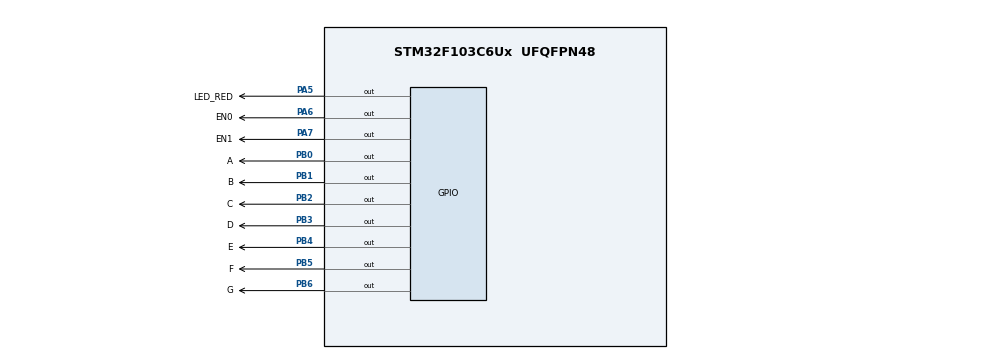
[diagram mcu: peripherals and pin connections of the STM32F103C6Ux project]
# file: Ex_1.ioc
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Mcu.Family=STM32F1
Mcu.Name=STM32F103C6Ux
Mcu.Package=UFQFPN48
NVIC.PriorityGroup=NVIC_PRIORITYGROUP_4
NVIC.TIM2_IRQn=true\:0\:0\:false\:false\:true\:true\:true
PA5.GPIO_Label=LED_RED
PA5.Signal=GPIO_Output
PA6.GPIO_Label=EN0
PA6.Signal=GPIO_Output
PA7.GPIO_Label=EN1
PA7.Signal=GPIO_Output
PB0.GPIO_Label=A
PB0.Signal=GPIO_Output
PB1.GPIO_Label=B
PB1.Signal=GPIO_Output
PB2.GPIO_Label=C
PB2.Signal=GPIO_Output
PB3.GPIO_Label=D
PB3.Signal=GPIO_Output
PB4.GPIO_Label=E
PB4.Signal=GPIO_Output
PB5.GPIO_Label=F
PB5.Signal=GPIO_Output
PB6.GPIO_Label=G
PB6.Signal=GPIO_Output
ProjectManager.HeapSize=0x200
ProjectManager.StackSize=0x400
ProjectManager.TargetToolchain=STM32CubeIDE
RCC.APB1Freq_Value=8000000
RCC.APB2Freq_Value=8000000
TIM2.Period=49
TIM2.Prescaler=7999
VP_SYS_VS_ND.Mode=No_Debug
VP_TIM2_VS_ClockSourceINT.Mode=Internal
board=custom

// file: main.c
/* USER CODE BEGIN Header */
/**
  ******************************************************************************
  * @file           : main.c
  * @brief          : Main program body
  ******************************************************************************
  * @attention
  *
  * <h2><center>&copy; Copyright (c) 2024 STMicroelectronics.
  * All rights reserved.</center></h2>
  *
  * This software component is licensed by ST under BSD 3-Clause license,
  * the "License"; You may not use this file except in compliance with the
  * License. You may obtain a copy of the License at:
  *                        opensource.org/licenses/BSD-3-Clause
  *
  ******************************************************************************
  */
/* USER CODE END Header */
#include "main.h"

TIM_HandleTypeDef htim2;

void SystemClock_Config(void);
static void MX_GPIO_Init(void);
static void MX_TIM2_Init(void);

int main(void)
{

  /* MCU Configuration--------------------------------------------------------*/

  /* Reset of all peripherals, Initializes the Flash interface and the Systick. */
  HAL_Init();

  /* Configure the system clock */
  SystemClock_Config();

  /* Initialize all configured peripherals */
  MX_GPIO_Init();
  MX_TIM2_Init();
  /* USER CODE BEGIN 2 */
  HAL_TIM_Base_Start_IT(&htim2);
  /* USER CODE END 2 */

  /* Infinite loop */
  while (1)
  {

  }
}

void SystemClock_Config(void)
{
  RCC_OscInitTypeDef RCC_OscInitStruct = {0};
  RCC_ClkInitTypeDef RCC_ClkInitStruct = {0};

  /** Initializes the RCC Oscillators according to the specified parameters
  * in the RCC_OscInitTypeDef structure.
  */
  RCC_OscInitStruct.OscillatorType = RCC_OSCILLATORTYPE_HSI;
  RCC_OscInitStruct.HSIState = RCC_HSI_ON;
  RCC_OscInitStruct.HSICalibrationValue = RCC_HSICALIBRATION_DEFAULT;
  RCC_OscInitStruct.PLL.PLLState = RCC_PLL_NONE;
  if (HAL_RCC_OscConfig(&RCC_OscInitStruct) != HAL_OK)
  {
    Error_Handler();
  }
  /** Initializes the CPU, AHB and APB buses clocks
  */
  RCC_ClkInitStruct.ClockType = RCC_CLOCKTYPE_HCLK|RCC_CLOCKTYPE_SYSCLK
                              |RCC_CLOCKTYPE_PCLK1|RCC_CLOCKTYPE_PCLK2;
  RCC_ClkInitStruct.SYSCLKSource = RCC_SYSCLKSOURCE_HSI;
  RCC_ClkInitStruct.AHBCLKDivider = RCC_SYSCLK_DIV1;
  RCC_ClkInitStruct.APB1CLKDivider = RCC_HCLK_DIV1;
  RCC_ClkInitStruct.APB2CLKDivider = RCC_HCLK_DIV1;

  if (HAL_RCC_ClockConfig(&RCC_ClkInitStruct, FLASH_LATENCY_0) != HAL_OK)
  {
    Error_Handler();
  }
}

static void MX_TIM2_Init(void)
{

  TIM_ClockConfigTypeDef sClockSourceConfig = {0};
  TIM_MasterConfigTypeDef sMasterConfig = {0};

  htim2.Instance = TIM2;
  htim2.Init.Prescaler = 7999;
  htim2.Init.CounterMode = TIM_COUNTERMODE_UP;
  htim2.Init.Period = 49;
  htim2.Init.ClockDivision = TIM_CLOCKDIVISION_DIV1;
  htim2.Init.AutoReloadPreload = TIM_AUTORELOAD_PRELOAD_DISABLE;
  if (HAL_TIM_Base_Init(&htim2) != HAL_OK)
  {
    Error_Handler();
  }
  sClockSourceConfig.ClockSource = TIM_CLOCKSOURCE_INTERNAL;
  if (HAL_TIM_ConfigClockSource(&htim2, &sClockSourceConfig) != HAL_OK)
  {
    Error_Handler();
  }
  sMasterConfig.MasterOutputTrigger = TIM_TRGO_RESET;
  sMasterConfig.MasterSlaveMode = TIM_MASTERSLAVEMODE_DISABLE;
  if (HAL_TIMEx_MasterConfigSynchronization(&htim2, &sMasterConfig) != HAL_OK)
  {
    Error_Handler();
  }

}

static void MX_GPIO_Init(void)
{
  GPIO_InitTypeDef GPIO_InitStruct = {0};

  /* GPIO Ports Clock Enable */
  __HAL_RCC_GPIOA_CLK_ENABLE();
  __HAL_RCC_GPIOB_CLK_ENABLE();

  /*Configure GPIO pin Output Level */
  HAL_GPIO_WritePin(GPIOA, LED_RED_Pin|EN0_Pin|EN1_Pin, GPIO_PIN_RESET);

  /*Configure GPIO pin Output Level */
  HAL_GPIO_WritePin(GPIOB, A_Pin|B_Pin|C_Pin|D_Pin
                          |E_Pin|F_Pin|G_Pin, GPIO_PIN_RESET);

  /*Configure GPIO pins : LED_RED_Pin EN0_Pin EN1_Pin */
  GPIO_InitStruct.Pin = LED_RED_Pin|EN0_Pin|EN1_Pin;
  GPIO_InitStruct.Mode = GPIO_MODE_OUTPUT_PP;
  GPIO_InitStruct.Pull = GPIO_NOPULL;
  GPIO_InitStruct.Speed = GPIO_SPEED_FREQ_LOW;
  HAL_GPIO_Init(GPIOA, &GPIO_InitStruct);

  /*Configure GPIO pins : A_Pin B_Pin C_Pin D_Pin
                           E_Pin F_Pin G_Pin */
  GPIO_InitStruct.Pin = A_Pin|B_Pin|C_Pin|D_Pin
                          |E_Pin|F_Pin|G_Pin;
  GPIO_InitStruct.Mode = GPIO_MODE_OUTPUT_PP;
  GPIO_InitStruct.Pull = GPIO_NOPULL;
  GPIO_InitStruct.Speed = GPIO_SPEED_FREQ_LOW;
  HAL_GPIO_Init(GPIOB, &GPIO_InitStruct);

}

/* USER CODE BEGIN 4 */
void display7SEG(int num) {
	HAL_GPIO_WritePin(A_GPIO_Port, A_Pin, SET);
	HAL_GPIO_WritePin(B_GPIO_Port, B_Pin, SET);
	HAL_GPIO_WritePin(C_GPIO_Port, C_Pin, SET);
	HAL_GPIO_WritePin(D_GPIO_Port, D_Pin, SET);
	HAL_GPIO_WritePin(E_GPIO_Port, E_Pin, SET);
	HAL_GPIO_WritePin(F_GPIO_Port, F_Pin, SET);
	HAL_GPIO_WritePin(G_GPIO_Port, G_Pin, SET);

	switch (num) {
	    case 0:
	        HAL_GPIO_WritePin(A_GPIO_Port, A_Pin, RESET);
	        HAL_GPIO_WritePin(B_GPIO_Port, B_Pin, RESET);
	        HAL_GPIO_WritePin(C_GPIO_Port, C_Pin, RESET);
	        HAL_GPIO_WritePin(D_GPIO_Port, D_Pin, RESET);
	        HAL_GPIO_WritePin(E_GPIO_Port, E_Pin, RESET);
	        HAL_GPIO_WritePin(F_GPIO_Port, F_Pin, RESET);
	        break;
	    case 1:
	        HAL_GPIO_WritePin(B_GPIO_Port, B_Pin, RESET);
	        HAL_GPIO_WritePin(C_GPIO_Port, C_Pin, RESET);
	        break;
	    case 2:
	        HAL_GPIO_WritePin(A_GPIO_Port, A_Pin, RESET);
	        HAL_GPIO_WritePin(B_GPIO_Port, B_Pin, RESET);
	        HAL_GPIO_WritePin(D_GPIO_Port, D_Pin, RESET);
	        HAL_GPIO_WritePin(E_GPIO_Port, E_Pin, RESET);
	        HAL_GPIO_WritePin(G_GPIO_Port, G_Pin, RESET);
	        break;
	    case 3:
	        HAL_GPIO_WritePin(A_GPIO_Port, A_Pin, RESET);
	        HAL_GPIO_WritePin(B_GPIO_Port, B_Pin, RESET);
	        HAL_GPIO_WritePin(C_GPIO_Port, C_Pin, RESET);
	        HAL_GPIO_WritePin(D_GPIO_Port, D_Pin, RESET);
	        HAL_GPIO_WritePin(G_GPIO_Port, G_Pin, RESET);
	        break;
	    case 4:
	        HAL_GPIO_WritePin(B_GPIO_Port, B_Pin, RESET);
	        HAL_GPIO_WritePin(C_GPIO_Port, C_Pin, RESET);
	        HAL_GPIO_WritePin(F_GPIO_Port, F_Pin, RESET);
	        HAL_GPIO_WritePin(G_GPIO_Port, G_Pin, RESET);
	        break;
	    case 5:
	        HAL_GPIO_WritePin(A_GPIO_Port, A_Pin, RESET);
	        HAL_GPIO_WritePin(C_GPIO_Port, C_Pin, RESET);
	        HAL_GPIO_WritePin(D_GPIO_Port, D_Pin, RESET);
	        HAL_GPIO_WritePin(F_GPIO_Port, F_Pin, RESET);
	        HAL_GPIO_WritePin(G_GPIO_Port, G_Pin, RESET);
	        break;
	    case 6:
	        HAL_GPIO_WritePin(A_GPIO_Port, A_Pin, RESET);
	        HAL_GPIO_WritePin(C_GPIO_Port, C_Pin, RESET);
	        HAL_GPIO_WritePin(D_GPIO_Port, D_Pin, RESET);
	        HAL_GPIO_WritePin(E_GPIO_Port, E_Pin, RESET);
	        HAL_GPIO_WritePin(F_GPIO_Port, F_Pin, RESET);
	        HAL_GPIO_WritePin(G_GPIO_Port, G_Pin, RESET);
	        break;
	    case 7:
	        HAL_GPIO_WritePin(A_GPIO_Port, A_Pin, RESET);
	        HAL_GPIO_WritePin(B_GPIO_Port, B_Pin, RESET);
	        HAL_GPIO_WritePin(C_GPIO_Port, C_Pin, RESET);
	        break;
	    case 8:
	        HAL_GPIO_WritePin(A_GPIO_Port, A_Pin, RESET);
	        HAL_GPIO_WritePin(B_GPIO_Port, B_Pin, RESET);
	        HAL_GPIO_WritePin(C_GPIO_Port, C_Pin, RESET);
	        HAL_GPIO_WritePin(D_GPIO_Port, D_Pin, RESET);
	        HAL_GPIO_WritePin(E_GPIO_Port, E_Pin, RESET);
	        HAL_GPIO_WritePin(F_GPIO_Port, F_Pin, RESET);
	        HAL_GPIO_WritePin(G_GPIO_Port, G_Pin, RESET);
	        break;
	    case 9:
	        HAL_GPIO_WritePin(A_GPIO_Port, A_Pin, RESET);
	        HAL_GPIO_WritePin(B_GPIO_Port, B_Pin, RESET);
	        HAL_GPIO_WritePin(C_GPIO_Port, C_Pin, RESET);
	        HAL_GPIO_WritePin(D_GPIO_Port, D_Pin, RESET);
	        HAL_GPIO_WritePin(F_GPIO_Port, F_Pin, RESET);
	        HAL_GPIO_WritePin(G_GPIO_Port, G_Pin, RESET);
	        break;
	    default:
	        break;
	}
}
int led_index = 0;
void HAL_TIM_PeriodElapsedCallback(TIM_HandleTypeDef *htim)
{
	led_index = (led_index + 1) % 2;

	if (led_index == 0) {
		HAL_GPIO_WritePin(GPIOA, EN0_Pin, GPIO_PIN_RESET);
		HAL_GPIO_WritePin(GPIOA, EN1_Pin, GPIO_PIN_SET);
		display7SEG(1);
	} else {
		HAL_GPIO_WritePin(GPIOA, EN0_Pin, GPIO_PIN_SET);
		HAL_GPIO_WritePin(GPIOA, EN1_Pin, GPIO_PIN_RESET);
		display7SEG(2);
	}
}

/* USER CODE END 4 */

void Error_Handler(void)
{
  __disable_irq();
  while (1)
  {
  }
}

/************************ (C) COPYRIGHT STMicroelectronics *****END OF FILE****/
